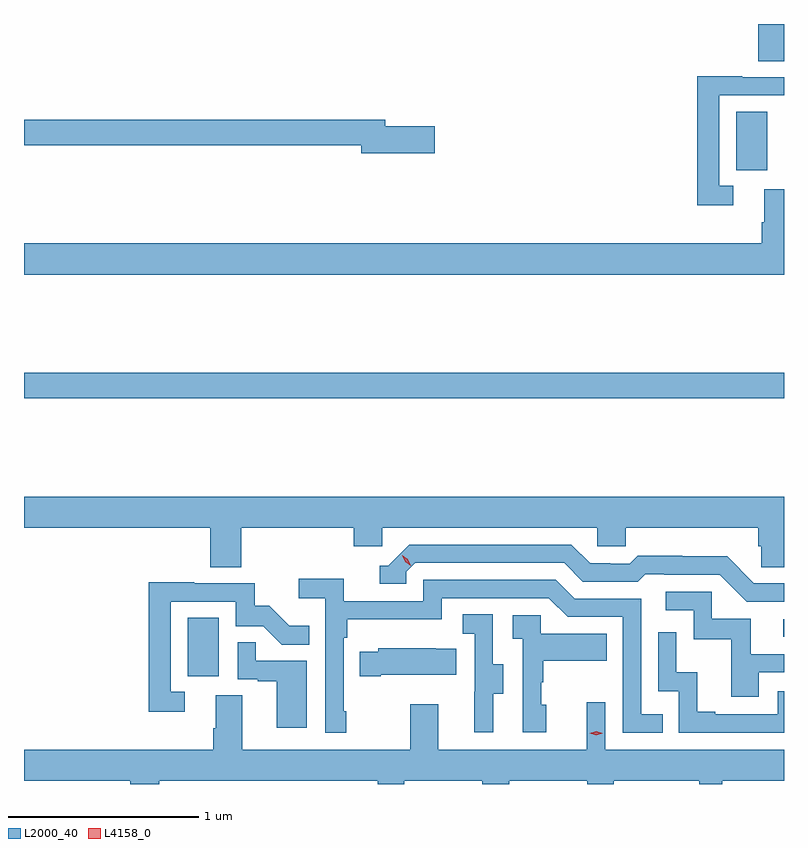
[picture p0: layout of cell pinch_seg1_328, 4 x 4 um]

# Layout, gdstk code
import gdstk
lib = gdstk.Library(unit=1e-6, precision=1e-09)
def R(c, l, rs):  # rectangles x0, y0, x1, y1
    for r in rs: c.add(gdstk.rectangle(r[:2], r[2:], *l))
def P(c, l, *ps):  # polygons
    for p in ps: c.add(gdstk.Polygon(p, *l))
L2000_40 = (2000, 40)
L4158_0 = (4158, 0)

pinch_seg1_328 = lib.new_cell('pinch_seg1_328')
R(pinch_seg1_328, L2000_40, [(950.978,545.622,951.142,545.929), (954.111,545.829,954.116,545.922), (950.116,547.084,954.116,547.22), (953.864,548.286,954.028,548.593), (953.981,548.86,954.116,549.055)])
P(pinch_seg1_328, L2000_40, [(953.848,548.205),(953.775,548.205),(953.775,548.679),(954.116,548.679),(954.116,548.775),(953.897,548.775),(953.897,548.78),(953.659,548.78),(953.659,548.1),(953.848,548.1)],
  [(952.279,548.516),(952.018,548.516),(952.018,548.552),(950.116,548.552),(950.116,548.416),(951.89,548.416),(951.89,548.374),(952.279,548.374)],
  [(954.116,548.186),(954.011,548.186),(954.011,548.012),(953.999,548.012),(953.999,547.9),(950.116,547.9),(950.116,547.736),(954.116,547.736)],
  [(951.26,546.404),(951.851,546.404),(951.851,546.306),(952.002,546.306),(952.002,546.404),(953.133,546.404),(953.133,546.306),(953.283,546.306),(953.283,546.404),(953.981,546.404),(953.981,546.306),(953.995,546.306),(953.995,546.196),(954.116,546.196),(954.116,546.568),(950.116,546.568),(950.116,546.404),(951.095,546.404),(951.095,546.196),(951.26,546.196)],
  [(954.116,546.111),(953.958,546.111),(953.816,546.253),(953.58,546.253),(953.58,546.256),(953.347,546.256),(953.305,546.213),(953.202,546.213),(953.202,546.216),(953.095,546.216),(952.996,546.315),(952.143,546.315),(952.032,546.204),(951.989,546.204),(951.989,546.108),(952.128,546.108),(952.128,546.171),(952.176,546.219),(952.959,546.219),(953.058,546.12),(953.347,546.12),(953.386,546.159),(953.485,546.159),(953.485,546.156),(953.778,546.156),(953.919,546.015),(954.116,546.015)],
  [(951.811,545.437),(951.798,545.437),(951.798,545.825),(951.818,545.825),(951.818,545.921),(952.314,545.921),(952.314,546.033),(952.878,546.033),(952.977,545.934),(953.268,545.934),(953.268,545.325),(953.477,545.325),(953.477,545.421),(953.364,545.421),(953.364,546.03),(953.014,546.03),(952.915,546.129),(952.218,546.129),(952.218,546.018),(951.8,546.018),(951.8,546.134),(951.561,546.134),(951.561,546.032),(951.702,546.032),(951.702,545.325),(951.811,545.325)],
  [(950.962,545.541),(950.889,545.541),(950.889,546.015),(951.231,546.015),(951.231,545.886),(951.375,545.886),(951.473,545.788),(951.617,545.788),(951.617,545.887),(951.513,545.887),(951.406,545.994),(951.33,545.994),(951.33,546.111),(951.011,546.111),(951.011,546.116),(950.773,546.116),(950.773,545.436),(950.962,545.436)],
  [(953.983,545.643),(954.116,545.643),(954.116,545.739),(953.941,545.739),(953.941,545.925),(953.736,545.925),(953.736,546.066),(953.493,546.066),(953.493,545.97),(953.64,545.97),(953.64,545.817),(953.839,545.817),(953.839,545.514),(953.983,545.514)],
  [(952.585,545.53),(952.639,545.53),(952.639,545.685),(952.584,545.685),(952.584,545.948),(952.425,545.948),(952.425,545.845),(952.488,545.845),(952.488,545.541),(952.487,545.541),(952.487,545.328),(952.585,545.328)],
  [(952.864,545.472),(952.839,545.472),(952.839,545.591),(952.849,545.591),(952.849,545.705),(953.183,545.705),(953.183,545.845),(952.836,545.845),(952.836,545.943),(952.689,545.943),(952.689,545.819),(952.74,545.819),(952.74,545.328),(952.864,545.328)],
  [(954.116,545.544),(954.084,545.544),(954.084,545.421),(953.755,545.421),(953.755,545.434),(953.66,545.434),(953.66,545.642),(953.55,545.642),(953.55,545.854),(953.454,545.854),(953.454,545.544),(953.562,545.544),(953.562,545.325),(954.116,545.325)],
  [(951.604,545.703),(951.335,545.703),(951.335,545.801),(951.24,545.801),(951.24,545.607),(951.347,545.607),(951.347,545.595),(951.446,545.595),(951.446,545.352),(951.604,545.352)],
  [(951.994,545.63),(952.391,545.63),(952.391,545.767),(952.283,545.767),(952.283,545.77),(951.981,545.77),(951.981,545.752),(951.883,545.752),(951.883,545.623),(951.994,545.623)],
  [(950.828,545.072),(951.977,545.072),(951.977,545.055),(952.117,545.055),(952.117,545.072),(952.529,545.072),(952.529,545.055),(952.669,545.055),(952.669,545.072),(953.081,545.072),(953.081,545.055),(953.22,545.055),(953.22,545.072),(953.669,545.072),(953.669,545.055),(953.791,545.055),(953.791,545.072),(954.116,545.072),(954.116,545.236),(953.175,545.236),(953.175,545.485),(953.078,545.485),(953.078,545.236),(952.297,545.236),(952.297,545.476),(952.15,545.476),(952.15,545.236),(951.265,545.236),(951.265,545.522),(951.125,545.522),(951.125,545.348),(951.113,545.348),(951.113,545.236),(950.116,545.236),(950.116,545.072),(950.675,545.072),(950.675,545.055),(950.828,545.055)])
P(pinch_seg1_328, L4158_0, [(953.128,545.312),(953.093,545.322),(953.092,545.322),(953.093,545.323),(953.128,545.332),(953.163,545.323),(953.163,545.322),(953.163,545.322)],
  [(952.152,546.205),(952.122,546.225),(952.106,546.258),(952.106,546.258),(952.106,546.258),(952.137,546.238),(952.152,546.205),(952.152,546.205)])

lib.write_gds('pinch_seg1_328.gds')
